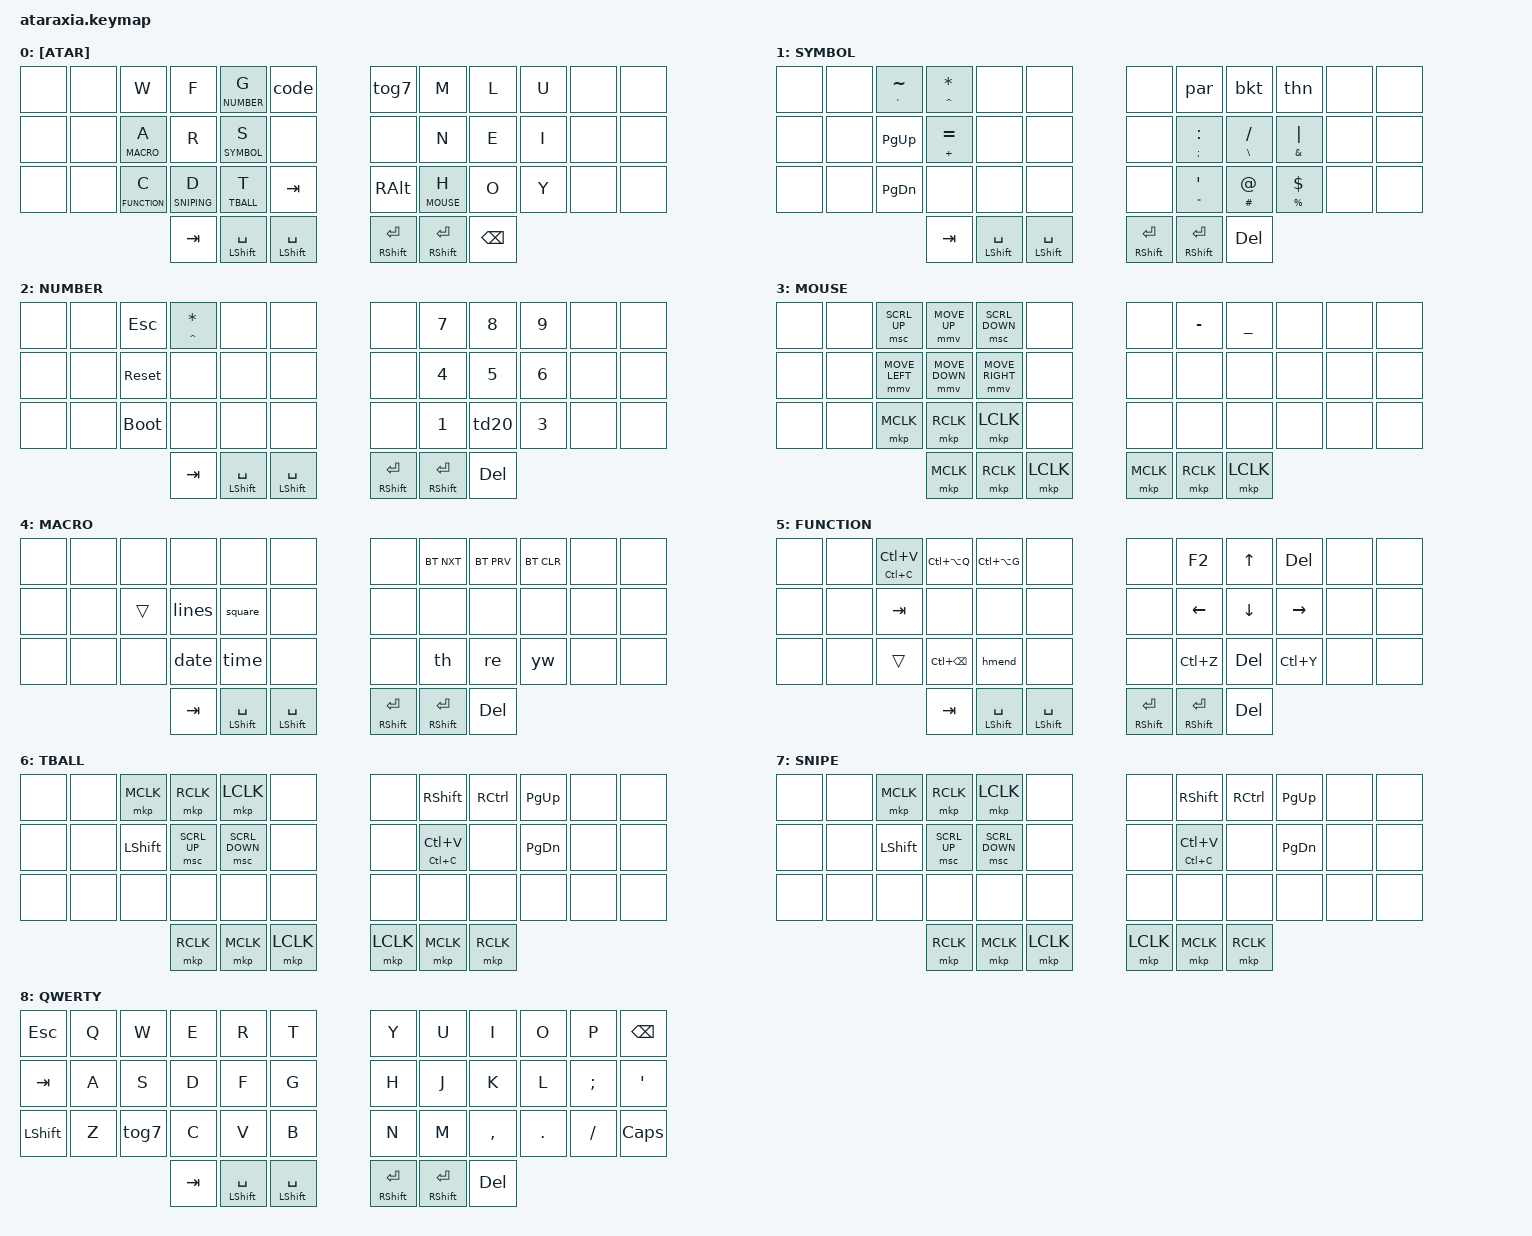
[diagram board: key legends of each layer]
/*
 * Copyright (c) 2025 miketronic
 * SPDX-License-Identifier: MIT
 * ataraxia v1 
 */

/*
 *
 * List of behaviors here > https://github.com/zmkfirmware/zmk/tree/main/app/dts/behaviors
 *
 * #undef ZMK_BEHAVIORS_KEEP_ALL
 * #define ZMK_BEHAVIORS_KEEP_BT
 * #define ZMK_BEHAVIORS_KEEP_KP
 * #define ZMK_BEHAVIORS_KEEP_LT
 * #define ZMK_BEHAVIORS_KEEP_MKP
 * #define ZMK_BEHAVIORS_KEEP_MMV
 * #define ZMK_BEHAVIORS_KEEP_MSC
 * #define ZMK_BEHAVIORS_KEEP_MT
 * #define ZMK_BEHAVIORS_KEEP_NONE
 * #define ZMK_BEHAVIORS_KEEP_SK
 *
 */




#define ZMK_POINTING_DEFAULT_MOVE_VAL 300
#define ZMK_POINTING_DEFAULT_SCRL_VAL 150

#include <behaviors.dtsi>
#include <input/processors.dtsi>
#include <dt-bindings/zmk/keys.h>
#include <dt-bindings/zmk/bt.h>
#include <dt-bindings/zmk/outputs.h>
#include <dt-bindings/zmk/pointing.h>

#define ALPHA       0
#define SYMBOL      1
#define NUMBER      2
#define MOUSE       3
#define MACRO       4
#define FUNCTION    5
#define TBALL       6
#define SNIPING     7
#define QWERTY      8

#define NUMG   &lt NUMBER G
#define MACA   &lt MACRO A
#define SYMS   &lt SYMBOL S
#define FUNC   &lt FUNCTION C
#define MSEH   &lt MOUSE H
#define TTB    &lt TBALL T
#define SNPD   &lt SNIPING D



#define CPST   &cccv LC(C) LC(V)
#define LSPC   &mt LSHIFT SPC
#define RENT   &mt RSHIFT RET
#define PRN    &mt RPAR LPAR
#define OCOM   &mt COMMA O
#define YDOT   &mt DOT Y  
#define ATH    &mt HASH AT
#define PIP    &mt AMPS PIPE
#define PRC    &mt PRCNT DLLR
#define QOT    &mt DQT SQT
#define SLS    &mt BSLH FSLH
#define CLN    &mt SEMI COLON
#define EQP    &mt PLUS EQUAL
#define GRTL   &mt GRAVE TILDE
#define STCT   &mt CARET STAR
#define bl     &bootloader

#define LSHF    &kp LSHFT
#define RSHF    &kp RSHFT
#define RTCL    &kp RCTRL
#define RTAL    &kp RALT
#define TB      &kp TAB
#define COMM    &kp COMMA
#define GRV     &kp GRAVE
#define UND     &kp UNDER
#define MINS    &kp MINUS
#define UNDS    &kp UNDER
#define KUP     &kp PG_UP
#define KDN     &kp PG_DN

#define MM_U &mmv MOVE_UP
#define MM_D &mmv MOVE_DOWN
#define MM_R &mmv MOVE_RIGHT
#define MM_L &mmv MOVE_LEFT

#define MS_U &msc SCRL_UP
#define MS_D &msc SCRL_DOWN
#define MS_R &msc SCRL_RIGHT
#define MS_L &msc SCRL_LEFT

#define MCK  &mkp MCLK  
#define RCK  &mkp RCLK  
#define LCK  &mkp LCLK 

&mmv_input_listener {
        standard {
            layers = <MOUSE>;
            input-processors = <&zip_xy_scaler 3 1>;
        };
};

&mmv {
    x-input-code = <INPUT_REL_X>;
    y-input-code = <INPUT_REL_Y>;
    time-to-max-speed-ms = <400>;
    acceleration-exponent = <2>;
};

&mt {
    tapping-term-ms = <160>;
};

&lt {
    tapping-term-ms = <150>;
};
 

/ {

    combos {

        compatible = "zmk,combos";
        combo_bootloader {
            timeout-ms = <100>;
            key-positions = <2 3 8 9>;
            bindings = <&bootloader>;
        };
      
        compatible = "zmk,combos";
        combo_q {
            timeout-ms = <50>;
            key-positions = <2 3>;
            bindings = <&kp Q>;
        };

        compatible = "zmk,combos";
        combo_b {
            timeout-ms = <50>;
            key-positions = <3 4>;
            bindings = <&kp B>;
        };

        compatible = "zmk,combos";
        combo_j {
            timeout-ms = <50>;
            key-positions = <7 8>;
            bindings = <&kp J>;
        };

        compatible = "zmk,combos";
        combo_bspc {
            timeout-ms = <50>;
            key-positions = <8 9>;
            bindings = <&kp BSPC>;
        };

        compatible = "zmk,combos";
        combo_v {
            timeout-ms = <50>;
            key-positions = <14 15>;
            bindings = <&kp V>;
        };

        compatible = "zmk,combos";
        combo_p {
            timeout-ms = <50>;
            key-positions = <15 16>;
            bindings = <&kp P>;
        };

        compatible = "zmk,combos";
        combo_k {
            timeout-ms = <50>;
            key-positions = <19 20>;
            bindings = <&kp K>;
        };

        compatible = "zmk,combos";
        combo_z {
            timeout-ms = <50>;
            key-positions = <26 27>;
            bindings = <&kp Z>;
        };

        compatible = "zmk,combos";
        combo_x {
            timeout-ms = <50>;
            key-positions = <27 28>;
            bindings = <&kp X>;
        };

        compatible = "zmk,combos";
        combo_rtcl {
            timeout-ms = <100>;
            key-positions = <7 8 9>;
            bindings = <&kp RCTRL>;
        };

        compatible = "zmk,combos";
        combo_ralt {
            timeout-ms = <100>;
            key-positions = <19 20 21>;
            bindings = <&kp RALT>;
        };

        compatible = "zmk,combos";
        combo_dot {
            timeout-ms = <100>;
            layers = <ALPHA>;
            key-positions = <32 33>;
            bindings = <&kp DOT>;
        };

        compatible = "zmk,combos";
        combo_qmark {
            timeout-ms = <50>;
            key-positions = <0 33>;
            bindings = <&kp QMARK>;
        };

        compatible = "zmk,combos";
        combo_comma {
            timeout-ms = <100>;
            layers = <ALPHA>;
            key-positions = <20 21>;
            bindings = <&kp COMMA>;
        };

        compatible = "zmk,combos";
        combo_excl {
            timeout-ms = <50>;
            key-positions = <0 21>;
            bindings = <&kp EXCL>;
        };

        compatible = "zmk,combos";
        combo_qmark2 {
            timeout-ms = <100>;
            layers = <SYMBOL>;
            key-positions = <32 33>;
            bindings = <&kp QMARK>;
        };

        compatible = "zmk,combos";
        combo_excl2 {
            timeout-ms = <100>;
            layers = <SYMBOL>;
            key-positions = <20 21>;
            bindings = <&kp EXCL>;
        };



    };

    behaviors {

        bkt: tap_dance_bracket {
            compatible = "zmk,behavior-tap-dance";
            #binding-cells = <0>;
            tapping-term-ms = <250>;
            bindings = <&kp LBKT>, <&kp RBKT>;
        };

        cln: tap_dance_colon {
            compatible = "zmk,behavior-tap-dance";
            #binding-cells = <0>;
            tapping-term-ms = <250>;
            bindings = <&kp COLON>, <&kp SEMI>;
        };

        par: tap_dance_paren {
            compatible = "zmk,behavior-tap-dance";
            #binding-cells = <0>;
            tapping-term-ms = <250>;
            bindings = <&kp LPAR>, <&kp RPAR>;
        };

        thn: tap_dance_then {
            compatible = "zmk,behavior-tap-dance";
            #binding-cells = <0>;
            tapping-term-ms = <250>;
            bindings = <&kp LT>, <&kp GT>;
        };

        qot: tap_dance_quote {
            compatible = "zmk,behavior-tap-dance";
            #binding-cells = <0>;
            tapping-term-ms = <250>;
            bindings = <&kp SQT>, <&kp DQT>;
        };

        sls: tap_dance_slash {
            compatible = "zmk,behavior-tap-dance";
            #binding-cells = <0>;
            tapping-term-ms = <250>;
            bindings = <&kp FSLH>, <&kp BSLH>;
        };

        pipe: tap_dance_pipe {
            compatible = "zmk,behavior-tap-dance";
            #binding-cells = <0>;
            tapping-term-ms = <250>;
            bindings = <&kp PIPE>, <&kp AMPS>;
        };

        at: tap_dance_at {
            compatible = "zmk,behavior-tap-dance";
            #binding-cells = <0>;
            tapping-term-ms = <250>;
            bindings = <&kp AT>, <&kp HASH>;
        };

        perc: tap_dance_perc {
            compatible = "zmk,behavior-tap-dance";
            #binding-cells = <0>;
            tapping-term-ms = <250>;
            bindings = <&kp PRCNT>, <&kp DLLR>;
        };

        hmend: tap_dance_hmend {
            compatible = "zmk,behavior-tap-dance";
            #binding-cells = <0>;
            tapping-term-ms = <200>;
            bindings = <&kp END>, <&kp HOME>;
        };

        tdW: tap_dance_W {
            compatible = "zmk,behavior-tap-dance";
            #binding-cells = <0>;
            tapping-term-ms = <240>;
            bindings = <&kp W>, <&kp ESC>;
        };

/*
 *       tdO: tap_dance_O {
 *           compatible = "zmk,behavior-tap-dance";
 *           #binding-cells = <0>;
 *           tapping-term-ms = <190>;
 *           bindings = <&kp O>, <&kp COMMA>;
 *       };
 *
 *       tdY: tap_dance_Y {
 *           compatible = "zmk,behavior-tap-dance";
 *           #binding-cells = <0>;
 *           tapping-term-ms = <190>;
 *           bindings = <&kp Y>, <&kp DOT>;
 *       };
 */

        td20: tap_dance_20 {
            compatible = "zmk,behavior-tap-dance";
            #binding-cells = <0>;
            tapping-term-ms = <240>;
            bindings = <&kp N2>, <&kp N0>;
        };

        cccv: copy_paste {
           compatible = "zmk,behavior-hold-tap";
           #binding-cells = <2>;
           flavor = "hold-preferred";
           tapping-term-ms = <200>;
            bindings = <&kp>, <&kp>;
        };

        tog7: toggle_qwerty {
            compatible = "zmk,behavior-tap-dance";
            #binding-cells = <0>;
            tapping-term-ms = <200>;
            bindings = <&kp X>, <&tog 7>;
        };

    };

    macros {
        th: ahk_th {
            compatible = "zmk,behavior-macro";
            #binding-cells = <0>;
            bindings
                = <&macro_tap &kp FSLH &kp FSLH &kp T &kp H>
                ;
        };

        re: ahk_re {
            compatible = "zmk,behavior-macro";
            #binding-cells = <0>;
            bindings
                = <&macro_tap &kp FSLH &kp FSLH &kp R &kp E>
                ;
        };

        yw: ahk_yw {
            compatible = "zmk,behavior-macro";
            #binding-cells = <0>;
            bindings
                = <&macro_tap &kp FSLH &kp FSLH &kp Y &kp W>
                ;
        };

        date: ahk_date {
            compatible = "zmk,behavior-macro";
            #binding-cells = <0>;
            bindings
                = <&macro_tap &kp FSLH &kp FSLH &kp A &kp N1 &kp N1>
                ;
        };

        time: ahk_time {
            compatible = "zmk,behavior-macro";
            #binding-cells = <0>;
            bindings
                = <&macro_tap &kp FSLH &kp FSLH &kp A &kp N1 &kp N2>
                ;
        };

        lines: ahk_lines {
            compatible = "zmk,behavior-macro";
            #binding-cells = <0>;
            bindings
                = <&macro_tap &kp FSLH &kp FSLH &kp A &kp N0 &kp N8>
                ;
        };

        square: ahk_square {
            compatible = "zmk,behavior-macro";
            #binding-cells = <0>;
            bindings
                = <&macro_tap &kp FSLH &kp FSLH &kp A &kp N0 &kp N9>
                ;
        };

        code: _code {
            compatible = "zmk,behavior-macro";
            #binding-cells = <0>;
            bindings
                = <&macro_tap &kp GRAVE &kp GRAVE &kp GRAVE>
                , <&macro_tap &kp ENTER>
                ;
        };
    };


    keymap {
        compatible = "zmk,keymap";

        ALPHA_layer {
            display-name = "[ATAR]";  
            bindings = <
                &none &none  &kp W &kp F NUMG &code  &tog7  &kp M &kp L &kp U  &none &none
                &none &none  MACA  &kp R SYMS &none  &none  &kp N &kp E &kp I  &none &none
                &none &none  FUNC  SNPD  TTB  TB     RTAL   MSEH  &kp O &kp Y   &none &none
                                &kp TAB LSPC LSPC    RENT   RENT  &kp BSPC
            >;
        };

        SYMBOL_layer {
            display-name = "SYMBOL";  
            bindings = <
                &none &none  GRTL  STCT    &none  &none   &none &par &bkt &thn &none &none
                &none &none  KUP   EQP     &none  &none   &none CLN SLS PIP    &none &none 
                &none &none  KDN   &none   &none  &none   &none QOT ATH PRC    &none &none
                                 &kp TAB LSPC LSPC  RENT    RENT &kp DEL
            >;
        };

        NUMBER_layer {
            display-name = "NUMBER";  
            bindings = <
                &none &none  &kp ESC      STCT     &none &none   &none &kp N7 &kp N8 &kp N9 &none &none
                &none &none  &sys_reset   &none    &none &none   &none &kp N4 &kp N5 &kp N6 &none &none
                &none &none  bl           &none    &none &none   &none &kp N1 &td20  &kp N3 &none &none 
                                 &kp TAB LSPC LSPC  RENT    RENT &kp DEL
            >;
        };

        MOUSE_layer {
            display-name = "MOUSE";  
            bindings = <
                &none &none MS_U  MM_U  MS_D  &none   &none MINS  UNDS  &none &none &none
                &none &none MM_L  MM_D  MM_R  &none   &none &none &none &none &none &none
                &none &none MCK   RCK   LCK   &none   &none &none &none &none &none &none  
                                     MCK  RCK  LCK     MCK  RCK  LCK
            >;
        };

        MACRO_layer {
            display-name = "MACRO";
            bindings = <
                &none &none &none  &none  &none   &none    &none &bt BT_NXT &bt BT_PRV &bt BT_CLR &none &none
                &none &none &trans &lines &square &none    &none &none &none  &none &none &none
                &none &none &none  &date  &time   &none    &none &th   &re    &yw   &none &none
                                &kp TAB LSPC LSPC  RENT    RENT &kp DEL
            >;
        };
                
        FUNCTION_layer {
            display-name = "FUNCTION";  
            bindings = <
                &none &none  CPST  &kp LC(LA(Q)) &kp LC(LA(G)) &none    &none &kp F2   &kp UP   &kp DEL   &none &none
                &none &none  &kp TAB   &none     &none         &none    &none &kp LEFT &kp DOWN &kp RIGHT &none &none
                &none &none  &trans    &kp LC(BSPC) &hmend     &none    &none &kp LC(Z) &kp DEL &kp LC(Y) &none &none
                                             &kp TAB LSPC LSPC  RENT    RENT &kp DEL
            >;
        };

        TBALL_layer {
            display-name = "TBALL";  
            bindings = <
                &none &none MCK   RCK   LCK   &none   &none RSHF  RTCL  KUP    &none &none
                &none &none LSHF  MS_U  MS_D  &none   &none CPST  &none KDN    &none &none
                &none &none &none &none &none &none   &none &none &none &none  &none &none  
                                     RCK  MCK  LCK     LCK  MCK  RCK
            >;
        };

        SNIPING_layer {
            display-name = "SNIPE";  
            bindings = <
                &none &none MCK   RCK   LCK   &none   &none RSHF  RTCL  KUP    &none &none
                &none &none LSHF  MS_U  MS_D  &none   &none CPST  &none KDN    &none &none
                &none &none &none &none &none &none   &none &none &none &none  &none &none  
                                     RCK  MCK  LCK     LCK  MCK  RCK
            >;
        };

        QWERTY_layer {
            display-name = "QWERTY";  
            bindings = <
                &kp ESC &kp Q   &kp W   &kp E   &kp R   &kp T   &kp Y   &kp U   &kp I   &kp O   &kp P    &kp BSPC
                &kp TAB &kp A   &kp S   &kp D   &kp F   &kp G   &kp H   &kp J   &kp K   &kp L   &kp SEMI &kp QUOT
                LSHF    &kp Z   &tog7   &kp C   &kp V   &kp B   &kp N   &kp M   COMM    &kp DOT &kp FSLH &kp CAPS
                                            &kp TAB LSPC LSPC   RENT    RENT &kp DEL
            >;
        };

        extra1 {
            status = "reserved";
        };

        extra2 {
            status = "reserved";
        };

        extra3 {
            status = "reserved";
        };

        extra4 {
            status = "reserved";
        };

    };
};
